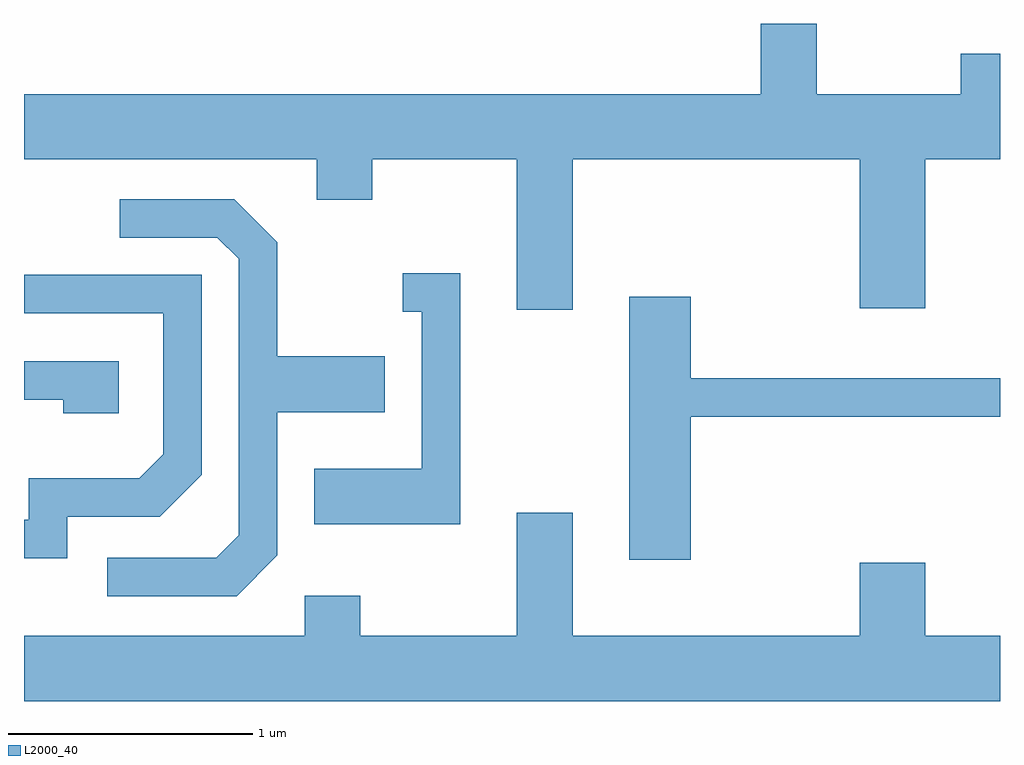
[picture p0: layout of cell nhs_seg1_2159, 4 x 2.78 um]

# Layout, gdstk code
import gdstk
lib = gdstk.Library(unit=1e-6, precision=1e-09)
def P(c, l, *ps):  # polygons
    for p in ps: c.add(gdstk.Polygon(p, *l))
L2000_40 = (2000, 40)

nhs_seg1_2159 = lib.new_cell('nhs_seg1_2159')
P(nhs_seg1_2159, L2000_40, [(253.859,875.156),(255.036,875.156),(255.036,874.546),(255.304,874.546),(255.304,875.156),(255.611,875.156),(255.611,875.589),(255.451,875.589),(255.451,875.424),(254.859,875.424),(254.859,875.712),(254.631,875.712),(254.631,875.424),(251.611,875.424),(251.611,875.156),(252.811,875.156),(252.811,874.991),(253.039,874.991),(253.039,875.156),(253.631,875.156),(253.631,874.541),(253.859,874.541)],
  [(252.649,873.534),(252.649,874.121),(253.089,874.121),(253.089,874.349),(252.649,874.349),(252.649,874.817),(252.472,874.994),(252.003,874.994),(252.003,874.836),(252.404,874.836),(252.491,874.749),(252.491,873.617),(252.399,873.524),(251.953,873.524),(251.953,873.366),(252.482,873.366)],
  [(253.399,874.689),(253.163,874.689),(253.163,874.531),(253.241,874.531),(253.241,873.889),(252.801,873.889),(252.801,873.661),(253.399,873.661)],
  [(251.789,873.691),(252.167,873.691),(252.339,873.864),(252.339,874.684),(251.611,874.684),(251.611,874.526),(252.181,874.526),(252.181,873.947),(252.084,873.849),(251.631,873.849),(251.631,873.679),(251.611,873.679),(251.611,873.521),(251.789,873.521)],
  [(254.344,874.101),(255.611,874.101),(255.611,874.259),(254.344,874.259),(254.344,874.594),(254.091,874.594),(254.091,873.516),(254.344,873.516)],
  [(251.999,874.329),(251.611,874.329),(251.611,874.171),(251.771,874.171),(251.771,874.116),(251.999,874.116)],
  [(255.611,873.204),(255.304,873.204),(255.304,873.504),(255.036,873.504),(255.036,873.204),(253.859,873.204),(253.859,873.709),(253.631,873.709),(253.631,873.204),(252.989,873.204),(252.989,873.369),(252.761,873.369),(252.761,873.204),(251.611,873.204),(251.611,872.936),(255.611,872.936)])

lib.write_gds('nhs_seg1_2159.gds')
